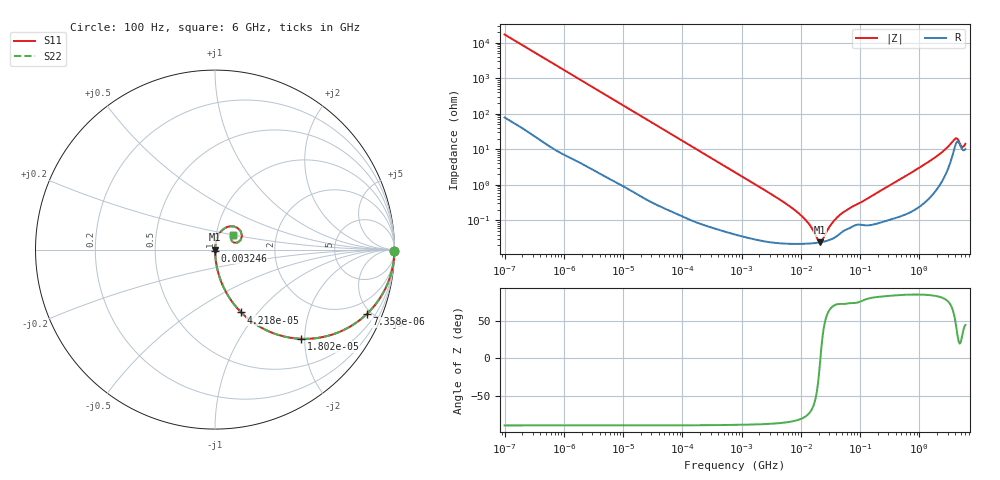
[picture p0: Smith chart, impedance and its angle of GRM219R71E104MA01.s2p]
!Murata Part Number: GRM219R71E104MA01
!These Parameters are Measured in Series Mode Connection
!Data Generated on Mar 30, 2021
!  o--ll--o
!Port1  Port2
!  o------o
!Operation Temp=25[degC], DC Bias Voltage=0[V]
!Freq. Start=100[Hz] Stop=6[GHz] 401[Steps]
# Hz S RI R 50
!Freq.(Hz) S11(Real) S11(Imag) S21(Real) S21(Imag) S12(Real) S12(Imag) S22(Real) S22(Imag)
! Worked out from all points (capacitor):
!   401 points, 100 Hz to 6 GHz, reference 50 ohm
!   read as one part in series: C = 93.4 nF near 109 Hz
!   lowest |Z| = 24.1 mohm at 21.28 MHz (marker M1)
!   series resonance near 21.42 MHz, so ESL is about 590 pH
!   S11 on the Smith chart (normalised r, x): 100 Hz: open; 7.358 kHz: 1.02, -4.68; 18.02 kHz: 1.01, -1.92; 42.18 kHz: 1.00, -0.82; 3.246 MHz: 1.00, -0.01; 6 GHz: 1.20, +0.20
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100  0.9999 -0.00587  6.16e-05 0.00587  6.16e-05 0.00587  0.9999 -0.00587
2008  0.986 -0.1153  0.014 0.1153  0.014 0.1153  0.986 -0.1153
7358  0.8445 -0.3598  0.1555 0.3598  0.1555 0.3598  0.8445 -0.3598
18016  0.4794 -0.4969  0.5206 0.4969  0.5206 0.4969  0.4794 -0.4969
40335  0.1573 -0.3611  0.8427 0.3611  0.8427 0.3611  0.1573 -0.3611
42182  0.1459 -0.35  0.8541 0.35  0.8541 0.35  0.1459 -0.35
147774  0.0146 -0.116  0.9854 0.116  0.9854 0.116  0.0146 -0.116
774597  0.000911 -0.0226  0.9991 0.0226  0.9991 0.0226  0.000911 -0.0226
3245845  0.000267 -0.00533  0.9997 0.00533  0.9997 0.00533  0.000267 -0.00533
9090158  0.00022 -0.0016  0.9998 0.0016  0.9998 0.0016  0.00022 -0.0016
1.555665e7  0.000226 -0.000539  0.9998 0.000539  0.9998 0.000539  0.000226 -0.000539
1.946e7  0.000236 -0.000159  0.9998 0.000159  0.9998 0.000159  0.000236 -0.000159
2.128304e7  0.000241 -1.01e-05  0.9998 1.01e-05  0.9998 1.01e-05  0.000241 -1.01e-05
2.327686e7  0.000248 0.000139  0.9998 -0.000139  0.9998 -0.000139  0.000248 0.000139
3.330331e7  0.000299 0.000759  0.9997 -0.000759  0.9997 -0.000759  0.000299 0.000759
4.764863e7  0.000447 0.00145  0.9996 -0.00145  0.9996 -0.00145  0.000447 0.00145
3.124326e8  0.00112 0.00945  0.9989 -0.00945  0.9989 -0.00945  0.00112 0.00945
1.712697e9  0.00833 0.0533  0.9917 -0.0533  0.9917 -0.0533  0.00833 0.0533
3.8344e9  0.1035 0.1293  0.8965 -0.1293  0.8965 -0.1293  0.1035 0.1293
4.385646e9  0.1505 0.0773  0.8495 -0.0773  0.8495 -0.0773  0.1505 0.0773
5.245841e9  0.0951 0.0458  0.9049 -0.0458  0.9049 -0.0458  0.0951 0.0458
6e9  0.0992 0.082  0.9008 -0.082  0.9008 -0.082  0.0992 0.082
